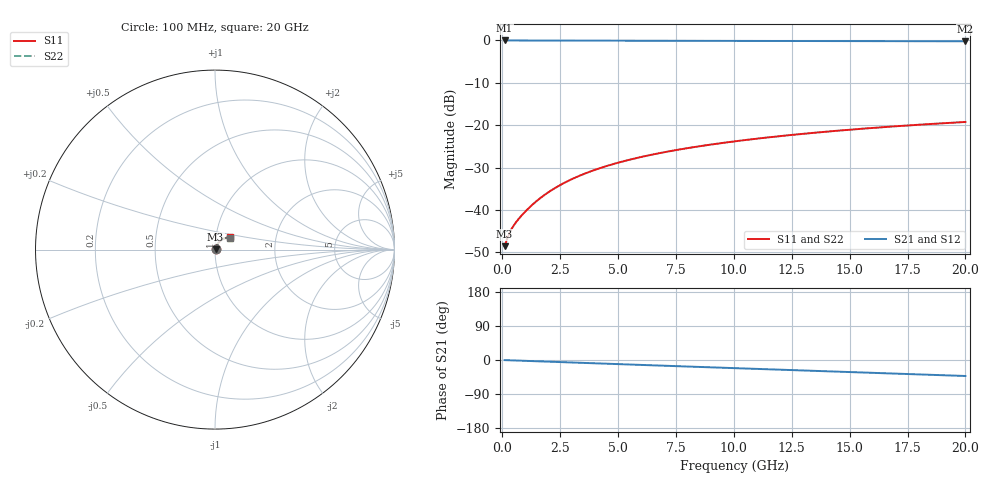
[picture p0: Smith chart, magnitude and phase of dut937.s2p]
! Touchstone file exported from HFSS 2026.1.0
!  File:  C:/ffzhzh/LocalFiles/Ansys_Project_Files/temp_train_TMRDL_937_1783158435_55132.aedt
!  Generated:  05:48:21 PM Jul  4, 2026
!  Design:  TMRDL
!  Project:  temp_train_TMRDL_937_1783158435_55132
! Variables:
!  h_bsmrdl = 2um
!  h_ox = 20um
!  h_rdl = 5um
!  h_sub = 80um
!  h_tmrdl = 4.26um
!  h_tsv = 80um
!  h_via = 3um
!  l_bsmrdl = 300um
!  l_sub = 1151.25um
!  l_tmrdl = 751.25um
!  m_sub = 200um
!  pitch = 25.46um
!  r_tsv = 6um
!  s_tmrdl = 10um
!  w_bsmrdl = 18um
!  w_sub = 500um
!  w_tmrdl = 18.9um
!  x_tsv_center1 = 760.7um
!  x_tsv_center2 = 1078.7um
!  x_tsv_center3 = 1848.85um
!  x_tsv_center4 = 2166.85um
!  x_tsv_center5 = 2937um
!  x_tsv_center6 = 3255um
# GHz S MA R 50.000000
! Terminal data exported
! Port[1] = TM_RDL1_1_T1
! Port[2] = TM_RDL1_1_T2
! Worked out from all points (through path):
!   200 points, 100 MHz to 20 GHz, reference 50 ohm
!   highest |S21| = -0.03 dB at 100 MHz (marker M1); lowest = -0.2 dB at 20 GHz (marker M2)
!   group delay of S21, straight-line fit = 5.84 ps
!   lowest |S11| = -48.5 dB at 100 MHz (marker M3), VSWR 1.01, Z = 50.4 + j0.125 ohm
!   |S11| at or under -10 dB: start of sweep to end of sweep
!   |S22| runs from -48.5 to -19.2 dB; largest |S21 - S12| = 2.1e-15
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0.1  0.003743 19.3  0.9965 -0.2  0.9965 -0.2  0.003743 19.3
! Gamma 0 0 0 0
! Port Impedance 50 0 50 0
0.2  0.004499 30.5  0.9961 -0.5  0.9961 -0.5  0.004499 30.6
0.3  0.005273 36.5  0.9958 -0.7  0.9958 -0.7  0.005276 36.5
0.4  0.005969 40.3  0.9955 -0.9  0.9955 -0.9  0.005976 40.4
0.5  0.006604 43.4  0.9953 -1.2  0.9953 -1.2  0.006613 43.5
0.8  0.008403 50.8  0.9949 -1.8  0.9949 -1.8  0.008416 50.8
1  0.009628 54.6  0.9948 -2.2  0.9948 -2.2  0.00964 54.5
1.3  0.01154 58.7  0.9945 -2.9  0.9945 -2.9  0.01155 58.7
1.8  0.01488 62.9  0.9941 -4.0  0.9941 -4.0  0.01488 62.8
2.3  0.01829 64.9  0.9936 -5.1  0.9936 -5.1  0.01829 64.9
2.9  0.02238 65.9  0.993 -6.4  0.993 -6.4  0.02238 65.9
3.5  0.02641 66.0  0.9923 -7.7  0.9923 -7.7  0.02642 66.0
4.2  0.031 65.5  0.9914 -9.2  0.9914 -9.2  0.03101 65.5
5  0.03608 64.6  0.9903 -10.9  0.9903 -10.9  0.03609 64.5
5.9  0.04157 63.2  0.9891 -12.8  0.9891 -12.8  0.04158 63.2
6.8  0.04684 61.8  0.9879 -14.7  0.9879 -14.7  0.04686 61.7
8.3  0.05523 59.2  0.986 -17.9  0.986 -17.9  0.05525 59.1
10.1  0.06474 56.1  0.9839 -21.7  0.9839 -21.7  0.06478 56.0
11.7  0.07279 53.3  0.9822 -25.0  0.9822 -25.0  0.07284 53.2
13.4  0.08097 50.3  0.9805 -28.5  0.9805 -28.5  0.08103 50.1
16.7  0.09576 44.3  0.9774 -35.4  0.9774 -35.4  0.09585 44.1
20  0.109 38.3  0.9745 -42.2  0.9745 -42.2  0.1091 38.0
